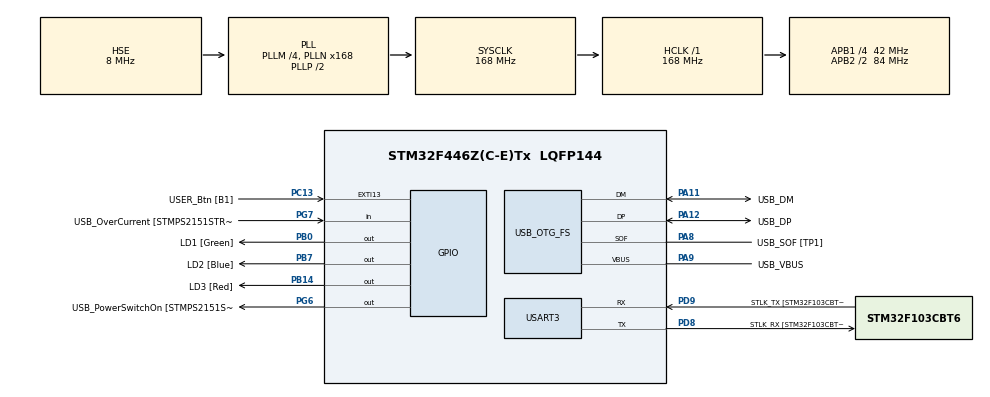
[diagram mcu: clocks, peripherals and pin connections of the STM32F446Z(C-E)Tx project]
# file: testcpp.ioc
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Mcu.Family=STM32F4
Mcu.Name=STM32F446Z(C-E)Tx
Mcu.Package=LQFP144
NVIC.PriorityGroup=NVIC_PRIORITYGROUP_4
PA10.GPIO_Label=USB_ID
PA10.Signal=USB_OTG_FS_ID
PA11.GPIO_Label=USB_DM
PA11.Mode=Device_Only
PA11.Signal=USB_OTG_FS_DM
PA12.GPIO_Label=USB_DP
PA12.Mode=Device_Only
PA12.Signal=USB_OTG_FS_DP
PA13.GPIO_Label=TMS
PA13.Mode=Serial_Wire
PA13.Signal=SYS_JTMS-SWDIO
PA14.GPIO_Label=TCK
PA14.Mode=Serial_Wire
PA14.Signal=SYS_JTCK-SWCLK
PA8.GPIO_Label=USB_SOF [TP1]
PA8.Mode=Activate_SOF_FS
PA8.Signal=USB_OTG_FS_SOF
PA9.GPIO_Label=USB_VBUS
PA9.Mode=Activate_VBUS
PA9.Signal=USB_OTG_FS_VBUS
PB0.GPIO_Label=LD1 [Green]
PB0.Signal=GPIO_Output
PB14.GPIO_Label=LD3 [Red]
PB14.Signal=GPIO_Output
PB7.GPIO_Label=LD2 [Blue]
PB7.Signal=GPIO_Output
PC13.GPIO_Label=USER_Btn [B1]
PC13.Signal=GPXTI13
PC14-OSC32_IN.Mode=LSE-External-Oscillator
PC14-OSC32_IN.Signal=RCC_OSC32_IN
PC15-OSC32_OUT.Mode=LSE-External-Oscillator
PC15-OSC32_OUT.Signal=RCC_OSC32_OUT
PD8.GPIO_Label=STLK_RX [STM32F103CBT6_PA3]
PD8.Mode=Asynchronous
PD8.Signal=USART3_TX
PD9.GPIO_Label=STLK_TX [STM32F103CBT6_PA2]
PD9.Mode=Asynchronous
PD9.Signal=USART3_RX
PG6.GPIO_Label=USB_PowerSwitchOn [STMPS2151STR_EN]
PG6.Signal=GPIO_Output
PG7.GPIO_Label=USB_OverCurrent [STMPS2151STR_FAULT]
PG7.Signal=GPIO_Input
PH0-OSC_IN.GPIO_Label=MCO [STM32F103CBT6_PA8]
PH0-OSC_IN.Mode=HSE-External-Clock-Source
PH0-OSC_IN.Signal=RCC_OSC_IN
PH1-OSC_OUT.Mode=HSE-External-Clock-Source
PH1-OSC_OUT.Signal=RCC_OSC_OUT
ProjectManager.HeapSize=0x200
ProjectManager.StackSize=0x400
ProjectManager.TargetToolchain=STM32CubeIDE
RCC.48MHZClocksFreq_Value=24000000
RCC.AHBFreq_Value=168000000
RCC.APB1CLKDivider=RCC_HCLK_DIV4
RCC.APB1Freq_Value=42000000
RCC.APB1TimFreq_Value=84000000
RCC.APB2CLKDivider=RCC_HCLK_DIV2
RCC.APB2Freq_Value=84000000
RCC.APB2TimFreq_Value=168000000
RCC.CortexFreq_Value=168000000
RCC.HCLKFreq_Value=168000000
RCC.HSE_VALUE=8000000
RCC.HSI_VALUE=16000000
RCC.PLLM=4
RCC.PLLMUL=RCC_PLL_MUL9
RCC.PLLN=168
RCC.PLLQ=7
RCC.PRESCALERUSB=RCC_USBCLKSOURCE_PLL_DIV1_5
RCC.SYSCLKFreq_VALUE=168000000
RCC.SYSCLKSource=RCC_SYSCLKSOURCE_PLLCLK
RCC.SYSCLKSourceVirtual=RCC_SYSCLKSOURCE_PLLCLK
RCC.USBFreq_Value=48000000
RCC.VCOOutputFreq_Value=336000000
USART3.VirtualMode=VM_ASYNC
USB_OTG_FS.VirtualMode=Device_Only
board=NUCLEO-F446ZE

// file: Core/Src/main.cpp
/* USER CODE BEGIN Header */
/**
  ******************************************************************************
  * @file           : main.c
  * @brief          : Main program body
  ******************************************************************************
  * @attention
  *
  * Copyright (c) 2023 STMicroelectronics.
  * All rights reserved.
  *
  * This software is licensed under terms that can be found in the LICENSE file
  * in the root directory of this software component.
  * If no LICENSE file comes with this software, it is provided AS-IS.
  *
  ******************************************************************************
  */
/* USER CODE END Header */
#include "main.h"

/* USER CODE BEGIN Includes */
#include "Test.h"
#include "flashMemoryAccess.h"
/* USER CODE END Includes */

UART_HandleTypeDef huart3;

PCD_HandleTypeDef hpcd_USB_OTG_FS;

/* USER CODE BEGIN PV */
uint32_t cpt = 1;
/* USER CODE END PV */

void SystemClock_Config(void);
static void MX_GPIO_Init(void);
static void MX_USART3_UART_Init(void);
static void MX_USB_OTG_FS_PCD_Init(void);

int main(void)
{

  /* MCU Configuration--------------------------------------------------------*/

  /* Reset of all peripherals, Initializes the Flash interface and the Systick. */
  HAL_Init();

  /* Configure the system clock */
  SystemClock_Config();

  /* Initialize all configured peripherals */
  MX_GPIO_Init();
  MX_USART3_UART_Init();
  MX_USB_OTG_FS_PCD_Init();
  /* USER CODE BEGIN 2 */
  Test test;
  test.setData(8);
  uint32_t cptTmp = 0;
  for(uint32_t i = 0;i < 15;i++){
	  HAL_GPIO_TogglePin(LD3_GPIO_Port, LD3_Pin);
	  init_flash_memory();
	  flashWriteData(FLASH_USER_START_ADDR,&i,1);
	  //save_data(FLASH_USER_START_ADDR,i);
	  HAL_Delay(500);
	  //cptTmp = read_data(FLASH_USER_START_ADDR);
	  flashReadData(FLASH_USER_START_ADDR,&cptTmp,1);
	  HAL_Delay(500);
  }
//  for(unsigned j = 0;j < 15;j++){
//	  HAL_GPIO_TogglePin(LD3_GPIO_Port, LD3_Pin);
//	  init_flash_memory();
//	  save_data(FLASH_USER_START_ADDR+4,j);
//	  HAL_Delay(500);
//	  cptTmp = read_data(FLASH_USER_START_ADDR+4);
//	  HAL_Delay(500);
//  }
  /* USER CODE END 2 */

  /* Infinite loop */
  /* USER CODE BEGIN WHILE */
  while (1)
  {
	  //uint32_t cptTmp = 0;
	  HAL_GPIO_TogglePin(LD3_GPIO_Port, LD3_Pin);
	  //save_data(0x08004000,cpt);
	  HAL_Delay(500);
	  //cptTmp = read_data(0x08004000);
	  //HAL_Delay(500);
    /* USER CODE END WHILE */

  }
}

void SystemClock_Config(void)
{
  RCC_OscInitTypeDef RCC_OscInitStruct = {0};
  RCC_ClkInitTypeDef RCC_ClkInitStruct = {0};

  /** Configure the main internal regulator output voltage
  */
  __HAL_RCC_PWR_CLK_ENABLE();
  __HAL_PWR_VOLTAGESCALING_CONFIG(PWR_REGULATOR_VOLTAGE_SCALE1);

  /** Initializes the RCC Oscillators according to the specified parameters
  * in the RCC_OscInitTypeDef structure.
  */
  RCC_OscInitStruct.OscillatorType = RCC_OSCILLATORTYPE_HSE;
  RCC_OscInitStruct.HSEState = RCC_HSE_BYPASS;
  RCC_OscInitStruct.PLL.PLLState = RCC_PLL_ON;
  RCC_OscInitStruct.PLL.PLLSource = RCC_PLLSOURCE_HSE;
  RCC_OscInitStruct.PLL.PLLM = 4;
  RCC_OscInitStruct.PLL.PLLN = 168;
  RCC_OscInitStruct.PLL.PLLP = RCC_PLLP_DIV2;
  RCC_OscInitStruct.PLL.PLLQ = 7;
  RCC_OscInitStruct.PLL.PLLR = 2;
  if (HAL_RCC_OscConfig(&RCC_OscInitStruct) != HAL_OK)
  {
    Error_Handler();
  }

  /** Initializes the CPU, AHB and APB buses clocks
  */
  RCC_ClkInitStruct.ClockType = RCC_CLOCKTYPE_HCLK|RCC_CLOCKTYPE_SYSCLK
                              |RCC_CLOCKTYPE_PCLK1|RCC_CLOCKTYPE_PCLK2;
  RCC_ClkInitStruct.SYSCLKSource = RCC_SYSCLKSOURCE_PLLCLK;
  RCC_ClkInitStruct.AHBCLKDivider = RCC_SYSCLK_DIV1;
  RCC_ClkInitStruct.APB1CLKDivider = RCC_HCLK_DIV4;
  RCC_ClkInitStruct.APB2CLKDivider = RCC_HCLK_DIV2;

  if (HAL_RCC_ClockConfig(&RCC_ClkInitStruct, FLASH_LATENCY_5) != HAL_OK)
  {
    Error_Handler();
  }
}

static void MX_USART3_UART_Init(void)
{

  huart3.Instance = USART3;
  huart3.Init.BaudRate = 115200;
  huart3.Init.WordLength = UART_WORDLENGTH_8B;
  huart3.Init.StopBits = UART_STOPBITS_1;
  huart3.Init.Parity = UART_PARITY_NONE;
  huart3.Init.Mode = UART_MODE_TX_RX;
  huart3.Init.HwFlowCtl = UART_HWCONTROL_NONE;
  huart3.Init.OverSampling = UART_OVERSAMPLING_16;
  if (HAL_UART_Init(&huart3) != HAL_OK)
  {
    Error_Handler();
  }

}

static void MX_USB_OTG_FS_PCD_Init(void)
{

  hpcd_USB_OTG_FS.Instance = USB_OTG_FS;
  hpcd_USB_OTG_FS.Init.dev_endpoints = 6;
  hpcd_USB_OTG_FS.Init.speed = PCD_SPEED_FULL;
  hpcd_USB_OTG_FS.Init.dma_enable = DISABLE;
  hpcd_USB_OTG_FS.Init.phy_itface = PCD_PHY_EMBEDDED;
  hpcd_USB_OTG_FS.Init.Sof_enable = ENABLE;
  hpcd_USB_OTG_FS.Init.low_power_enable = DISABLE;
  hpcd_USB_OTG_FS.Init.lpm_enable = DISABLE;
  hpcd_USB_OTG_FS.Init.vbus_sensing_enable = ENABLE;
  hpcd_USB_OTG_FS.Init.use_dedicated_ep1 = DISABLE;
  if (HAL_PCD_Init(&hpcd_USB_OTG_FS) != HAL_OK)
  {
    Error_Handler();
  }

}

static void MX_GPIO_Init(void)
{
  GPIO_InitTypeDef GPIO_InitStruct = {0};

  /* GPIO Ports Clock Enable */
  __HAL_RCC_GPIOC_CLK_ENABLE();
  __HAL_RCC_GPIOH_CLK_ENABLE();
  __HAL_RCC_GPIOB_CLK_ENABLE();
  __HAL_RCC_GPIOD_CLK_ENABLE();
  __HAL_RCC_GPIOG_CLK_ENABLE();
  __HAL_RCC_GPIOA_CLK_ENABLE();

  /*Configure GPIO pin Output Level */
  HAL_GPIO_WritePin(GPIOB, LD1_Pin|LD3_Pin|LD2_Pin, GPIO_PIN_RESET);

  /*Configure GPIO pin Output Level */
  HAL_GPIO_WritePin(USB_PowerSwitchOn_GPIO_Port, USB_PowerSwitchOn_Pin, GPIO_PIN_RESET);

  /*Configure GPIO pin : USER_Btn_Pin */
  GPIO_InitStruct.Pin = USER_Btn_Pin;
  GPIO_InitStruct.Mode = GPIO_MODE_IT_RISING;
  GPIO_InitStruct.Pull = GPIO_NOPULL;
  HAL_GPIO_Init(USER_Btn_GPIO_Port, &GPIO_InitStruct);

  /*Configure GPIO pins : LD1_Pin LD3_Pin LD2_Pin */
  GPIO_InitStruct.Pin = LD1_Pin|LD3_Pin|LD2_Pin;
  GPIO_InitStruct.Mode = GPIO_MODE_OUTPUT_PP;
  GPIO_InitStruct.Pull = GPIO_NOPULL;
  GPIO_InitStruct.Speed = GPIO_SPEED_FREQ_LOW;
  HAL_GPIO_Init(GPIOB, &GPIO_InitStruct);

  /*Configure GPIO pin : USB_PowerSwitchOn_Pin */
  GPIO_InitStruct.Pin = USB_PowerSwitchOn_Pin;
  GPIO_InitStruct.Mode = GPIO_MODE_OUTPUT_PP;
  GPIO_InitStruct.Pull = GPIO_NOPULL;
  GPIO_InitStruct.Speed = GPIO_SPEED_FREQ_LOW;
  HAL_GPIO_Init(USB_PowerSwitchOn_GPIO_Port, &GPIO_InitStruct);

  /*Configure GPIO pin : USB_OverCurrent_Pin */
  GPIO_InitStruct.Pin = USB_OverCurrent_Pin;
  GPIO_InitStruct.Mode = GPIO_MODE_INPUT;
  GPIO_InitStruct.Pull = GPIO_NOPULL;
  HAL_GPIO_Init(USB_OverCurrent_GPIO_Port, &GPIO_InitStruct);

}

void Error_Handler(void)
{
  __disable_irq();
  while (1)
  {
  }
}
